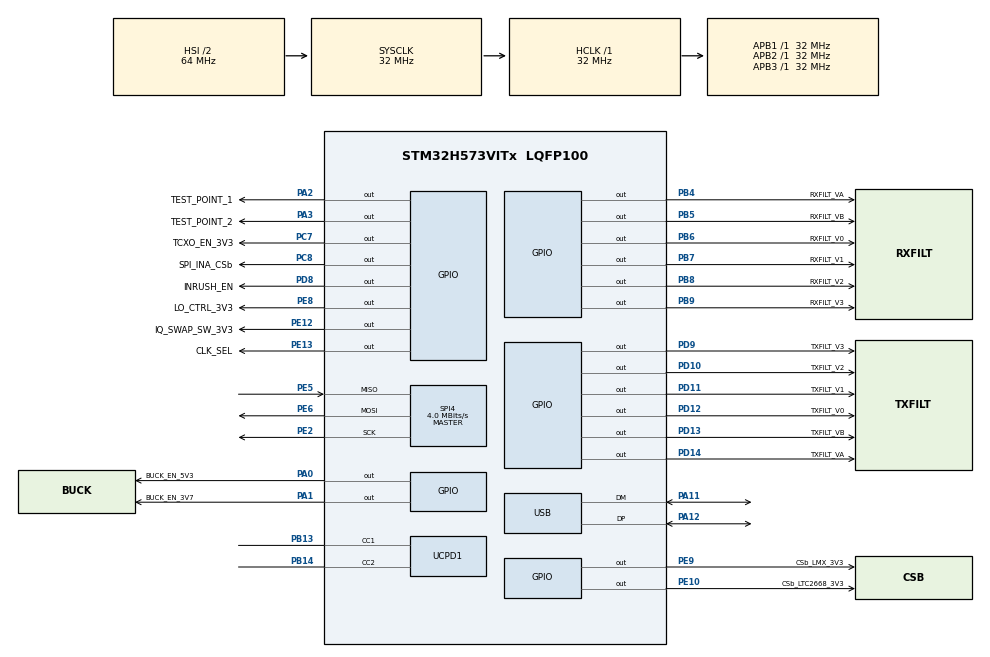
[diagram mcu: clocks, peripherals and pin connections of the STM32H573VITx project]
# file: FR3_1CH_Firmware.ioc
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BOOTPATH.BootPathName=LEGACY
BOOTPATH.UserSelectedBootPath=LEGACY
CORTEX_M33_NS.Number-Cortex_Memory_Protection_Unit_Region0_OTP_RO_AREAS_Settings=MPU_REGION_NUMBER0
CORTEX_M33_NS.default_mode_Activation=1
CORTEX_M33_NS.userName=CORTEX_M33
GPDMA1.IPHANDLE_GPDMACH0-SIMPLEREQUEST_GPDMACH0=__NULL
GPDMA1.IPHANDLE_GPDMACH1-SIMPLEREQUEST_GPDMACH1=__NULL
GPDMA1.RECAP_GPDMACH0=GPDMA1_REQUEST_UCPD1_RX
GPDMA1.RECAP_GPDMACH1=GPDMA1_REQUEST_UCPD1_TX
GPDMA1.REQUEST_GPDMACH0=GPDMA1_REQUEST_UCPD1_RX
GPDMA1.REQUEST_GPDMACH1=GPDMA1_REQUEST_UCPD1_TX
Mcu.Family=STM32H5
Mcu.Name=STM32H573VITx
Mcu.Package=LQFP100
NVIC.GPDMA1_Channel0_IRQn=true\:0\:0\:false\:false\:true\:true\:false\:true\:true
NVIC.GPDMA1_Channel1_IRQn=true\:0\:0\:false\:false\:true\:true\:false\:true\:true
NVIC.PriorityGroup=NVIC_PRIORITYGROUP_4
NVIC.TIM6_IRQn=true\:15\:0\:false\:false\:true\:false\:false\:true\:true
NVIC.TimeBase=TIM6_IRQn
NVIC.TimeBaseIP=TIM6
NVIC.UCPD1_IRQn=true\:0\:0\:false\:false\:true\:false\:true\:false\:true
NVIC.USB_DRD_FS_IRQn=true\:0\:0\:false\:false\:true\:false\:true\:true\:true
PA0.GPIO_Label=BUCK_EN_5V3
PA0.Signal=GPIO_Output
PA1.GPIO_Label=BUCK_EN_3V7
PA1.Signal=GPIO_Output
PA11.Mode=Device
PA11.Signal=USB_DM
PA12.Mode=Device
PA12.Signal=USB_DP
PA13(JTMS/SWDIO).Signal=DEBUG_JTMS-SWDIO
PA14(JTCK/SWCLK).Signal=DEBUG_JTCK-SWCLK
PA2.GPIO_Label=TEST_POINT_1
PA2.Signal=GPIO_Output
PA3.GPIO_Label=TEST_POINT_2
PA3.Signal=GPIO_Output
PB13.Mode=Sink_AllSignals
PB13.Signal=UCPD1_CC1
PB14.Mode=Sink_AllSignals
PB14.Signal=UCPD1_CC2
PB4(NJTRST).GPIO_Label=RXFILT_VA
PB4(NJTRST).Signal=GPIO_Output
PB5.GPIO_Label=RXFILT_VB
PB5.Signal=GPIO_Output
PB6.GPIO_Label=RXFILT_V0
PB6.Signal=GPIO_Output
PB7.GPIO_Label=RXFILT_V1
PB7.Signal=GPIO_Output
PB8.GPIO_Label=RXFILT_V2
PB8.Signal=GPIO_Output
PB9.GPIO_Label=RXFILT_V3
PB9.Signal=GPIO_Output
PC7.GPIO_Label=TCXO_EN_3V3
PC7.Signal=GPIO_Output
PC8.GPIO_Label=SPI_INA_CSb
PC8.Signal=GPIO_Output
PD10.GPIO_Label=TXFILT_V2
PD10.Signal=GPIO_Output
PD11.GPIO_Label=TXFILT_V1
PD11.Signal=GPIO_Output
PD12.GPIO_Label=TXFILT_V0
PD12.Signal=GPIO_Output
PD13.GPIO_Label=TXFILT_VB
PD13.Signal=GPIO_Output
PD14.GPIO_Label=TXFILT_VA
PD14.Signal=GPIO_Output
PD8.GPIO_Label=INRUSH_EN
PD8.Signal=GPIO_Output
PD9.GPIO_Label=TXFILT_V3
PD9.Signal=GPIO_Output
PE10.GPIO_Label=CSb_LTC2668_3V3
PE10.PinState=GPIO_PIN_SET
PE10.Signal=GPIO_Output
PE12.GPIO_Label=IQ_SWAP_SW_3V3
PE12.Signal=GPIO_Output
PE13.GPIO_Label=CLK_SEL
PE13.Signal=GPIO_Output
PE2.Mode=Full_Duplex_Master
PE2.Signal=SPI4_SCK
PE5.Mode=Full_Duplex_Master
PE5.Signal=SPI4_MISO
PE6.Mode=Full_Duplex_Master
PE6.Signal=SPI4_MOSI
PE8.GPIO_Label=LO_CTRL_3V3
PE8.Signal=GPIO_Output
PE9.GPIO_Label=CSb_LMX_3V3
PE9.PinState=GPIO_PIN_SET
PE9.Signal=GPIO_Output
ProjectManager.HeapSize=0x1000
ProjectManager.StackSize=0x1000
ProjectManager.TargetToolchain=STM32CubeIDE
RCC.ADCFreq_Value=32000000
RCC.AHBFreq_Value=32000000
RCC.APB1Freq_Value=32000000
RCC.APB1TimFreq_Value=32000000
RCC.APB2Freq_Value=32000000
RCC.APB2TimFreq_Value=32000000
RCC.APB3Freq_Value=32000000
RCC.CSI_VALUE=4000000
RCC.CortexFreq_Value=32000000
RCC.EPOD_VALUE=4000000
RCC.HCLKFreq_Value=32000000
RCC.HSE_VALUE=25000000
RCC.HSI48_VALUE=48000000
RCC.HSI_VALUE=64000000
RCC.LSE_VALUE=32768
RCC.LSIRC_VALUE=32000
RCC.SYSCLKFreq_VALUE=32000000
RCC.USBFreq_Value=48000000
RCC.VCOOutputFreq_Value=516000000
SPI4.BaudRatePrescaler=SPI_BAUDRATEPRESCALER_8
SPI4.CalculateBaudRate=4.0 MBits/s
SPI4.DataSize=SPI_DATASIZE_8BIT
SPI4.Direction=SPI_DIRECTION_2LINES
SPI4.FifoThreshold=SPI_FIFO_THRESHOLD_01DATA
SPI4.Mode=SPI_MODE_MASTER
SPI4.NSSPMode=SPI_NSS_PULSE_DISABLE
SPI4.VirtualType=VM_MASTER
USB.VirtualMode=Device_Only
USBPD.USBPD_PDO_FIXED_USBCOMM_P0=USBPD_PDO_FIXED_USBCOMM_SUPPORTED
USBPD.USBPD_PORT0_PDO_SNK_FIXED_SET_OP_CURRENT_0=1500
USBX.Core_System=1
USBX.MAX_POWER_IN_MILLI_AMPER=500
USBX.USBD_CDCACM_EPIN_ADDR=2
USBX.USBD_CDCACM_EPOUT_ADDR=3
USBX.USBD_MANUFACTURER_STRING=Pi-Radio
USBX.USBD_PID=0x0001
USBX.USBD_PRODUCT_STRING=FR3 1CH
USBX.USBD_VID=0x1209
USBX.UX_DEVICE_CDC_ACM=1
USBX.UX_DEVICE_ENABLED_FS=1
USBX.UX_Device_CoreStack=1
USBX.UX_enabled_FS=1
VP_BOOTPATH_VS_BOOTPATH.Mode=BP_Activate
VP_CORTEX_M33_NS_VS_Hclk.Mode=Hclk_Mode
VP_GPDMA1_VS_GPDMACH0.Mode=SIMPLEREQUEST_GPDMACH0
VP_GPDMA1_VS_GPDMACH1.Mode=SIMPLEREQUEST_GPDMACH1
VP_ICACHE_VS_ICACHE.Mode=DirectMappedCache
VP_MEMORYMAP_VS_MEMORYMAP.Mode=CurAppReg
VP_PWR_VS_LPOM.Mode=PowerOptimisation
VP_PWR_VS_SECSignals.Mode=Security/Privilege
VP_RCC_USB.Mode=CRS SYNC Source USB
VP_SYS_VS_tim6.Mode=TIM6
VP_THREADX_VS_RTOSJjThreadXJjCoreJjDefault.Mode=Core_Default
VP_USBPD_VS_PD3FULL.Mode=PD3_Full_Stack
VP_USBPD_VS_USBPD1.Mode=USBPD_P0
VP_USBPD_VS_usbpd_tim1.Mode=TIM1
VP_USBPD_VS_usbpd_usb_cohabitation.Mode=Enable USB Support
VP_USBX_Core_System.Mode=Core_System
VP_USBX_UX\ Device\ CDC\ ACM\ Class_FS.Mode=UX_Device_class_CDC_ACM_FS_HS
VP_USBX_UX\ Device\ CoreStack_FS.Mode=UX_Device_CoreStack
board=custom

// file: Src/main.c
/* USER CODE BEGIN Header */
/**
  ******************************************************************************
  * @file           : main.c
  * @brief          : Main program body
  ******************************************************************************
  * @attention
  *
  * Copyright (c) 2026 STMicroelectronics.
  * All rights reserved.
  *
  * This software is licensed under terms that can be found in the LICENSE file
  * in the root directory of this software component.
  * If no LICENSE file comes with this software, it is provided AS-IS.
  *
  ******************************************************************************
  */
/* USER CODE END Header */
#include "app_threadx.h"
#include "main.h"
#include "gpdma.h"
#include "icache.h"
#include "lo_control.h"
#include "spi.h"
#include "ucpd.h"
#include "usb.h"
#include "gpio.h"
#include "usbpd.h"

/* USER CODE BEGIN Includes */
#include <stdio.h>
#include "board_config.h"
#include "ina229.h"
#include "lmx2820.h"
#include "ltc2668.h"
#include "power_sequence.h"
#include "settings.h"
#include "usb_pd_sink.h"
/* USER CODE END Includes */

/* USER CODE BEGIN PV */
/* Captured once, first thing in main() - see Main_GetResetCause(). */
static char main_reset_cause[64] = "UNKNOWN";
/* USER CODE END PV */

void SystemClock_Config(void);
static void MPU_Config(void);

int main(void)
{

  /* USER CODE BEGIN 1 */
  /* Diagnostic: capture why the MCU actually reset, before anything else
   * (including HAL_Init()) has a chance to touch RCC - see
   * Main_GetResetCause() / "GET RESET CAUSE". Distinguishes a genuine
   * brownout (BOR) from a software reset, watchdog, or a plain NRST pin
   * reset. Cleared right after reading so the *next* reset's flags don't
   * OR together with this one's. */
  {
    size_t pos = 0U;

    if (__HAL_RCC_GET_FLAG(RCC_FLAG_BORRST))
    {
      pos += (size_t)snprintf(&main_reset_cause[pos], sizeof(main_reset_cause) - pos, "BOR ");
    }
    if (__HAL_RCC_GET_FLAG(RCC_FLAG_PINRST))
    {
      pos += (size_t)snprintf(&main_reset_cause[pos], sizeof(main_reset_cause) - pos, "PIN ");
    }
    if (__HAL_RCC_GET_FLAG(RCC_FLAG_SFTRST))
    {
      pos += (size_t)snprintf(&main_reset_cause[pos], sizeof(main_reset_cause) - pos, "SFT ");
    }
    if (__HAL_RCC_GET_FLAG(RCC_FLAG_IWDGRST))
    {
      pos += (size_t)snprintf(&main_reset_cause[pos], sizeof(main_reset_cause) - pos, "IWDG ");
    }
    if (__HAL_RCC_GET_FLAG(RCC_FLAG_WWDGRST))
    {
      pos += (size_t)snprintf(&main_reset_cause[pos], sizeof(main_reset_cause) - pos, "WWDG ");
    }
    if (__HAL_RCC_GET_FLAG(RCC_FLAG_LPWRRST))
    {
      pos += (size_t)snprintf(&main_reset_cause[pos], sizeof(main_reset_cause) - pos, "LPWR ");
    }
    if (pos == 0U)
    {
      snprintf(main_reset_cause, sizeof(main_reset_cause), "NONE");
    }

    __HAL_RCC_CLEAR_RESET_FLAGS();
  }
  /* USER CODE END 1 */

  /* MCU Configuration--------------------------------------------------------*/

  /* MPU Configuration--------------------------------------------------------*/
  MPU_Config();

  /* Reset of all peripherals, Initializes the Flash interface and the Systick. */
  HAL_Init();

  /* Configure the system clock */
  SystemClock_Config();

  /* USER CODE BEGIN SysInit */
  /* Unlock and enable the Cortex-M33 DWT cycle counter - required by the
     STM32H5 erratum 2.20.1 PMA-settle delay in stm32h5xx_it.c. M33 needs
     this CoreSight lock register write before DWT->CTRL takes effect;
     CMSIS core_cm33.h doesn't expose LAR as a named field (only LSR),
     hence the raw pointer write. */
  *(volatile uint32_t *)(DWT_BASE + 0xFB0UL) = 0xC5ACCE55U;
  CoreDebug->DEMCR |= CoreDebug_DEMCR_TRCENA_Msk;
  DWT->CYCCNT = 0U;
  DWT->CTRL |= DWT_CTRL_CYCCNTENA_Msk;
  /* USER CODE END SysInit */

  /* Initialize all configured peripherals */
  MX_GPIO_Init();
  MX_GPDMA1_Init();
  MX_ICACHE_Init();
  MX_UCPD1_Init();
  MX_SPI4_Init();
  /* Call PreOsInit function */
  USBPD_PreInitOs();
  /* USER CODE BEGIN 2 */
  /* MX_USB_PCD_Init() deliberately NOT called here - it runs later, from
     inside app_ux_device_thread_entry() (app_usbx_device.c), alongside
     ux_dcd_stm32_initialize()/HAL_PCD_Start(), after the scheduler has
     started rather than during pre-scheduler main(). CubeMX re-adds
     MX_USB_PCD_Init() to the call list above on every "Generate Code" (no
     USER CODE markers wrap individual calls there) - delete it by hand
     again after every regeneration. */

  /* Boot-health diagnostic: reaching here means clocks, GPIO, and basic
     peripheral init all succeeded. */
  HAL_GPIO_WritePin(TEST_POINT_1_GPIO_Port, TEST_POINT_1_Pin, GPIO_PIN_SET);

  /* USBPDSink_Init() (usb_pd_sink.c) is NOT called here anymore - the full
   * USBPD middleware now owns UCPD1 (MX_USBPD_Init(), called from
   * tx_application_define() in app_azure_rtos.c once the scheduler starts).
   * Calling our old hand-rolled LL_UCPD_Enable()/SetSNKRole()/SetccEnable()
   * sequence here would fight the middleware's own hardware interface
   * layer over the same registers. usb_pd_sink.c is kept around only for
   * its read-only USBPDSink_GetCurrentTier() diagnostic ("GET USB PD
   * CURRENT"), which is safe to keep calling since it never writes to
   * UCPD1 - only USBPDSink_Init() (the writing half) was removed. */

  PowerSequence_Init();
#if BOARD_HAS_INA229
  /* Board power monitor - deselected (PC8 high) since MX_GPIO_Init(), so
   * this is safe to bring up now that the rails it measures (inrush, 3V7,
   * 5V5) are stable. Runs before LMX2820_Init()/Settings_Init() so the
   * INA229's alarm config is known-clean before the LMX2820's own SPI4
   * traffic starts. */
  INA229_Init();
#endif
  LMX2820_Init();
  LTC2668_Init();
  LoControl_Init();   /* 1.4.1: loads the LO-null calibration table before Settings_Init() applies it */
  Settings_Init();
  /* USER CODE END 2 */

  MX_ThreadX_Init();

  /* We should never get here as control is now taken by the scheduler */

  /* Infinite loop */
  while (1)
  {

  }
}

void SystemClock_Config(void)
{
  RCC_OscInitTypeDef RCC_OscInitStruct = {0};
  RCC_ClkInitTypeDef RCC_ClkInitStruct = {0};
  RCC_CRSInitTypeDef RCC_CRSInitStruct = {0};

  /** Configure the main internal regulator output voltage
  */
  __HAL_PWR_VOLTAGESCALING_CONFIG(PWR_REGULATOR_VOLTAGE_SCALE3);

  while(!__HAL_PWR_GET_FLAG(PWR_FLAG_VOSRDY)) {}

  /** Initializes the RCC Oscillators according to the specified parameters
  * in the RCC_OscInitTypeDef structure.
  */
  RCC_OscInitStruct.OscillatorType = RCC_OSCILLATORTYPE_HSI48|RCC_OSCILLATORTYPE_HSI;
  RCC_OscInitStruct.HSIState = RCC_HSI_ON;
  RCC_OscInitStruct.HSIDiv = RCC_HSI_DIV2;
  RCC_OscInitStruct.HSICalibrationValue = RCC_HSICALIBRATION_DEFAULT;
  RCC_OscInitStruct.HSI48State = RCC_HSI48_ON;
  RCC_OscInitStruct.PLL.PLLState = RCC_PLL_NONE;
  if (HAL_RCC_OscConfig(&RCC_OscInitStruct) != HAL_OK)
  {
    Error_Handler();
  }

  /** Initializes the CPU, AHB and APB buses clocks
  */
  RCC_ClkInitStruct.ClockType = RCC_CLOCKTYPE_HCLK|RCC_CLOCKTYPE_SYSCLK
                              |RCC_CLOCKTYPE_PCLK1|RCC_CLOCKTYPE_PCLK2
                              |RCC_CLOCKTYPE_PCLK3;
  RCC_ClkInitStruct.SYSCLKSource = RCC_SYSCLKSOURCE_HSI;
  RCC_ClkInitStruct.AHBCLKDivider = RCC_SYSCLK_DIV1;
  RCC_ClkInitStruct.APB1CLKDivider = RCC_HCLK_DIV1;
  RCC_ClkInitStruct.APB2CLKDivider = RCC_HCLK_DIV1;
  RCC_ClkInitStruct.APB3CLKDivider = RCC_HCLK_DIV1;

  if (HAL_RCC_ClockConfig(&RCC_ClkInitStruct, FLASH_LATENCY_1) != HAL_OK)
  {
    Error_Handler();
  }

  /** Enable the CRS APB clock
  */
  __HAL_RCC_CRS_CLK_ENABLE();

  /** Configures CRS
  */
  RCC_CRSInitStruct.Prescaler = RCC_CRS_SYNC_DIV1;
  RCC_CRSInitStruct.Source = RCC_CRS_SYNC_SOURCE_USB;
  RCC_CRSInitStruct.Polarity = RCC_CRS_SYNC_POLARITY_RISING;
  RCC_CRSInitStruct.ReloadValue = __HAL_RCC_CRS_RELOADVALUE_CALCULATE(48000000,1000);
  RCC_CRSInitStruct.ErrorLimitValue = 34;
  RCC_CRSInitStruct.HSI48CalibrationValue = 32;

  HAL_RCCEx_CRSConfig(&RCC_CRSInitStruct);

  /** Configure the programming delay
  */
  __HAL_FLASH_SET_PROGRAM_DELAY(FLASH_PROGRAMMING_DELAY_0);
}

/* USER CODE BEGIN 4 */
const char *Main_GetResetCause(void)
{
  return main_reset_cause;
}
/* USER CODE END 4 */

 /* MPU Configuration */

void MPU_Config(void)
{
  MPU_Region_InitTypeDef MPU_InitStruct = {0};
  MPU_Attributes_InitTypeDef MPU_AttributesInit = {0};

  /* Disables the MPU */
  HAL_MPU_Disable();

  /** Initializes and configures the Region 0 and the memory to be protected
  */
  MPU_InitStruct.Enable = MPU_REGION_ENABLE;
  MPU_InitStruct.Number = MPU_REGION_NUMBER0;
  MPU_InitStruct.BaseAddress = 0x08FFF000;
  MPU_InitStruct.LimitAddress = 0x08FFFFFF;
  MPU_InitStruct.AttributesIndex = MPU_ATTRIBUTES_NUMBER0;
  MPU_InitStruct.AccessPermission = MPU_REGION_ALL_RO;
  MPU_InitStruct.DisableExec = MPU_INSTRUCTION_ACCESS_DISABLE;
  MPU_InitStruct.IsShareable = MPU_ACCESS_NOT_SHAREABLE;

  HAL_MPU_ConfigRegion(&MPU_InitStruct);

  /** Initializes and configures the Attribute 0 and the memory to be protected
  */
  MPU_AttributesInit.Number = MPU_ATTRIBUTES_NUMBER0;
  MPU_AttributesInit.Attributes = INNER_OUTER(MPU_NOT_CACHEABLE);

  HAL_MPU_ConfigMemoryAttributes(&MPU_AttributesInit);
  /* Enables the MPU */
  HAL_MPU_Enable(MPU_PRIVILEGED_DEFAULT);

}

void HAL_TIM_PeriodElapsedCallback(TIM_HandleTypeDef *htim)
{
  if (htim->Instance == TIM6)
  {
    HAL_IncTick();
  }
}

void Error_Handler(void)
{
  __disable_irq();
  while (1)
  {
  }
}
